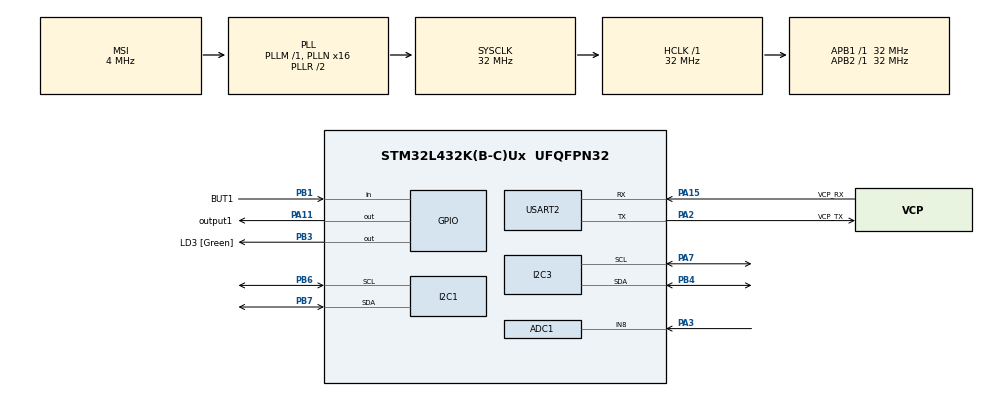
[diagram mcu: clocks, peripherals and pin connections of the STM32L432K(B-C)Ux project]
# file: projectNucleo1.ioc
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ADC1.Channel-0\#ChannelRegularConversion=ADC_CHANNEL_8
ADC1.NbrOfConversionFlag=1
ADC1.OffsetNumber-0\#ChannelRegularConversion=ADC_OFFSET_NONE
ADC1.Rank-0\#ChannelRegularConversion=1
ADC1.SamplingTime-0\#ChannelRegularConversion=ADC_SAMPLETIME_2CYCLES_5
ADC1.master=1
I2C1.OwnAddress=0x10
I2C1.Timing=0x00707CBB
I2C3.Timing=0x00707CBB
Mcu.Family=STM32L4
Mcu.Name=STM32L432K(B-C)Ux
Mcu.Package=UFQFPN32
NVIC.I2C1_ER_IRQn=true\:0\:0\:false\:false\:true\:true\:true\:true
NVIC.I2C1_EV_IRQn=true\:0\:0\:false\:false\:true\:true\:true\:true
NVIC.I2C3_ER_IRQn=true\:0\:0\:false\:false\:true\:true\:true\:true
NVIC.I2C3_EV_IRQn=true\:0\:0\:false\:false\:true\:true\:true\:true
NVIC.PriorityGroup=NVIC_PRIORITYGROUP_4
PA0.GPIO_Label=MCO [High speed clock in]
PA0.Mode=HSE-External-Clock-Source-for-LittleOrca
PA0.Signal=RCC_CK_IN
PA11.GPIO_Label=output1
PA11.GPIO_PuPd=GPIO_NOPULL
PA11.GPIO_Speed=GPIO_SPEED_FREQ_LOW
PA11.Signal=GPIO_Output
PA13\ (JTMS-SWDIO).GPIO_Label=SWDIO
PA13\ (JTMS-SWDIO).Mode=Serial_Wire
PA13\ (JTMS-SWDIO).Signal=SYS_JTMS-SWDIO
PA14\ (JTCK-SWCLK).GPIO_Label=SWCLK
PA14\ (JTCK-SWCLK).Mode=Serial_Wire
PA14\ (JTCK-SWCLK).Signal=SYS_JTCK-SWCLK
PA15\ (JTDI).GPIO_Label=VCP_RX
PA15\ (JTDI).Mode=Asynchronous
PA15\ (JTDI).Signal=USART2_RX
PA2.GPIO_Label=VCP_TX
PA2.Mode=Asynchronous
PA2.Signal=USART2_TX
PA3.Signal=ADCx_IN8
PA7.GPIO_Pu=GPIO_PULLUP
PA7.Mode=I2C
PA7.Signal=I2C3_SCL
PB1.GPIO_Label=BUT1
PB1.GPIO_PuPd=GPIO_PULLUP
PB1.Signal=GPIO_Input
PB3\ (JTDO-TRACESWO).GPIO_Label=LD3 [Green]
PB3\ (JTDO-TRACESWO).GPIO_PuPd=GPIO_NOPULL
PB3\ (JTDO-TRACESWO).GPIO_Speed=GPIO_SPEED_FREQ_LOW
PB3\ (JTDO-TRACESWO).Signal=GPIO_Output
PB4\ (NJTRST).GPIO_Pu=GPIO_PULLUP
PB4\ (NJTRST).Mode=I2C
PB4\ (NJTRST).Signal=I2C3_SDA
PB6.GPIO_Pu=GPIO_PULLUP
PB6.Mode=I2C
PB6.Signal=I2C1_SCL
PB7.GPIO_Pu=GPIO_PULLUP
PB7.Mode=I2C
PB7.Signal=I2C1_SDA
PC14-OSC32_IN\ (PC14).Mode=LSE-External-Oscillator
PC14-OSC32_IN\ (PC14).Signal=RCC_OSC32_IN
PC15-OSC32_OUT\ (PC15).Mode=LSE-External-Oscillator
PC15-OSC32_OUT\ (PC15).Signal=RCC_OSC32_OUT
ProjectManager.HeapSize=0x200
ProjectManager.StackSize=0x400
ProjectManager.TargetToolchain=STM32CubeIDE
RCC.AHBFreq_Value=32000000
RCC.APB1Freq_Value=32000000
RCC.APB1TimFreq_Value=32000000
RCC.APB2Freq_Value=32000000
RCC.APB2TimFreq_Value=32000000
RCC.CortexFreq_Value=32000000
RCC.HCLKFreq_Value=32000000
RCC.HSE_VALUE=8000000
RCC.HSI16_VALUE=16000000
RCC.HSI48_VALUE=48000000
RCC.HSI_VALUE=16000000
RCC.MSI_VALUE=4000000
RCC.PLLMUL=RCC_PLLMUL_4
RCC.PLLN=16
RCC.SYSCLKFreq_VALUE=32000000
RCC.SYSCLKSource=RCC_SYSCLKSOURCE_PLLCLK
RCC.VCOOutputFreq_Value=64000000
SH.ADCx_IN8.0=ADC1_IN8,IN8-Single-Ended
USART2.VirtualMode-Asynchronous=VM_ASYNC
board=NUCLEO-L432KC

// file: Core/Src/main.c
/* USER CODE BEGIN Header */
/**
  ******************************************************************************
  * @file           : main.c
  * @brief          : Main program body
  ******************************************************************************
  * @attention
  *
  * Copyright (c) 2024 STMicroelectronics.
  * All rights reserved.
  *
  * This software is licensed under terms that can be found in the LICENSE file
  * in the root directory of this software component.
  * If no LICENSE file comes with this software, it is provided AS-IS.
  *
  ******************************************************************************
  */
/* USER CODE END Header */
#include "main.h"

/* USER CODE BEGIN Includes */
#include <string.h>
#include <stdio.h>
#include <stdlib.h>
#include "sht3x.h"
/* USER CODE END Includes */

/* USER CODE BEGIN PD */
#define BUF_SIZE 2;
#define BYTE_TO_BINARY_PATTERN "%c%c%c%c%c%c%c%c"
#define BYTE_TO_BINARY(byte) \
	((byte) & 0x80 ? '1' : '0'), \
	((byte) & 0x40 ? '1' : '0'), \
	((byte) & 0x20 ? '1' : '0'), \
	((byte) & 0x10 ? '1' : '0'), \
	((byte) & 0x08 ? '1' : '0'), \
	((byte) & 0x04 ? '1' : '0'), \
	((byte) & 0x02 ? '1' : '0'), \
	((byte) & 0x01 ? '1' : '0')
/* USER CODE END PD */

ADC_HandleTypeDef hadc1;

I2C_HandleTypeDef hi2c1;
I2C_HandleTypeDef hi2c3;

UART_HandleTypeDef huart2;

/* USER CODE BEGIN PV */
//static const uint8_t SGP30_ADDR = 0x44 << 1;
//static const uint8_t REG_GAS = 0x00;
uint8_t received_command = 0;
char temperatureBuf[50];
char humidityBuf[50];
char moistureBuf[50];
char co2Buf[50];
float temp = 73;
float humidity = 24;
float moisture = 25;
uint16_t CO2 = 26;
uint16_t TVOC = 27;

/* USER CODE END PV */

void SystemClock_Config(void);
static void MX_GPIO_Init(void);
static void MX_USART2_UART_Init(void);
static void MX_I2C1_Init(void);
static void MX_I2C3_Init(void);
static void MX_ADC1_Init(void);

int main(void)
{
  /* USER CODE BEGIN 1 */
//	HAL_StatusTypeDef ret;

//	int16_t val;
//	float temp_c;

	sht3x_handle_t handle = {
	    .i2c_handle = &hi2c3,
	    .device_address = SHT3X_I2C_DEVICE_ADDRESS_ADDR_PIN_LOW
	};

	if (!sht3x_init(&handle)) {
	    printf("SHT3x access failed.\n\r");
	}

  /* USER CODE END 1 */

  /* MCU Configuration--------------------------------------------------------*/

  /* Reset of all peripherals, Initializes the Flash interface and the Systick. */
  HAL_Init();

  /* Configure the system clock */
  SystemClock_Config();

  /* Initialize all configured peripherals */
  MX_GPIO_Init();
  MX_USART2_UART_Init();
  MX_I2C1_Init();
  MX_I2C3_Init();
  MX_ADC1_Init();

  /* Infinite loop */
  /* USER CODE BEGIN WHILE */

  HAL_UART_Transmit(&huart2, " - Nucleo 1 online - \n\r", 23, HAL_MAX_DELAY);
  HAL_I2C_Slave_Receive_IT(&hi2c1, &received_command, 1);

  //initialisatie van de co2 sensor
  HAL_I2C_Master_Transmit(&hi2c3, 0x58 << 1, (uint8_t[]) {0x20, 0x03}, 2, HAL_MAX_DELAY);
  HAL_Delay(10);

  while (1)
  {
	  HAL_I2C_Slave_Receive_IT(&hi2c1, &received_command, 1);
	  /*
	   * Readout temperature and humidity using library functions and store them in corresponding buffers
	   */

	  sht3x_read_temperature_and_humidity(&handle, &temp, &humidity);
	  sprintf(temperatureBuf, "%.1lf", temp);
	  sprintf(humidityBuf, "%.1lf", humidity);
	  HAL_Delay(10);

	  HAL_ADC_Start(&hadc1);
	  if(HAL_ADC_PollForConversion(&hadc1, HAL_MAX_DELAY) == HAL_OK){
		  HAL_ADC_Stop(&hadc1);
		  moisture = HAL_ADC_GetValue(&hadc1);
	  }
	  sprintf(moistureBuf, "%d", (unsigned int)moisture);
	  //HAL_UART_Transmit(&huart2, moistureBuf, sizeof(moistureBuf), HAL_MAX_DELAY);
	  //HAL_UART_Transmit(&huart2, "\r\n", 2, HAL_MAX_DELAY);

		//char buf[50];       // Read data from SGP30 sensor
		uint8_t data[6]; // Data buffer to store sensor readings
		// Request measurement
		uint8_t command[] = {0x20, 0x08}; // Command for reading measurement data
		HAL_I2C_Master_Transmit(&hi2c3, 0x58 << 1, command, sizeof(command), HAL_MAX_DELAY);
		// Wait for measurement to complete
		HAL_Delay(12);
		// Read measurement data
		HAL_I2C_Master_Receive(&hi2c3, (0x58 << 1) | 0x01, data, sizeof(data), HAL_MAX_DELAY);
		// Process data to get CO2 and TVOC
		CO2 = (data[0] << 8) | data[1];
		TVOC = (data[3] << 8) | data[4];        // Print data to Serial port (UART)
		//sprintf(buf, "CO2: %d TVOC: %d \r\n", CO2, TVOC);
		//HAL_UART_Transmit(&huart2, (uint8_t*)buf, strlen(buf), HAL_MAX_DELAY);
		if(CO2 < 1000){
			sprintf(co2Buf, "0%d", CO2);
		}
		else {
			sprintf(co2Buf, "%d", CO2);
		}
		//sprintf(co2BufFormatted, "%0d", co2Buf)

    /* USER CODE END WHILE */

  }
}

void SystemClock_Config(void)
{
  RCC_OscInitTypeDef RCC_OscInitStruct = {0};
  RCC_ClkInitTypeDef RCC_ClkInitStruct = {0};

  /** Configure the main internal regulator output voltage
  */
  if (HAL_PWREx_ControlVoltageScaling(PWR_REGULATOR_VOLTAGE_SCALE1) != HAL_OK)
  {
    Error_Handler();
  }

  /** Configure LSE Drive Capability
  */
  HAL_PWR_EnableBkUpAccess();
  __HAL_RCC_LSEDRIVE_CONFIG(RCC_LSEDRIVE_LOW);

  /** Initializes the RCC Oscillators according to the specified parameters
  * in the RCC_OscInitTypeDef structure.
  */
  RCC_OscInitStruct.OscillatorType = RCC_OSCILLATORTYPE_LSE|RCC_OSCILLATORTYPE_MSI;
  RCC_OscInitStruct.LSEState = RCC_LSE_ON;
  RCC_OscInitStruct.MSIState = RCC_MSI_ON;
  RCC_OscInitStruct.MSICalibrationValue = 0;
  RCC_OscInitStruct.MSIClockRange = RCC_MSIRANGE_6;
  RCC_OscInitStruct.PLL.PLLState = RCC_PLL_ON;
  RCC_OscInitStruct.PLL.PLLSource = RCC_PLLSOURCE_MSI;
  RCC_OscInitStruct.PLL.PLLM = 1;
  RCC_OscInitStruct.PLL.PLLN = 16;
  RCC_OscInitStruct.PLL.PLLP = RCC_PLLP_DIV7;
  RCC_OscInitStruct.PLL.PLLQ = RCC_PLLQ_DIV2;
  RCC_OscInitStruct.PLL.PLLR = RCC_PLLR_DIV2;
  if (HAL_RCC_OscConfig(&RCC_OscInitStruct) != HAL_OK)
  {
    Error_Handler();
  }

  /** Initializes the CPU, AHB and APB buses clocks
  */
  RCC_ClkInitStruct.ClockType = RCC_CLOCKTYPE_HCLK|RCC_CLOCKTYPE_SYSCLK
                              |RCC_CLOCKTYPE_PCLK1|RCC_CLOCKTYPE_PCLK2;
  RCC_ClkInitStruct.SYSCLKSource = RCC_SYSCLKSOURCE_PLLCLK;
  RCC_ClkInitStruct.AHBCLKDivider = RCC_SYSCLK_DIV1;
  RCC_ClkInitStruct.APB1CLKDivider = RCC_HCLK_DIV1;
  RCC_ClkInitStruct.APB2CLKDivider = RCC_HCLK_DIV1;

  if (HAL_RCC_ClockConfig(&RCC_ClkInitStruct, FLASH_LATENCY_1) != HAL_OK)
  {
    Error_Handler();
  }

  /** Enable MSI Auto calibration
  */
  HAL_RCCEx_EnableMSIPLLMode();
}

static void MX_ADC1_Init(void)
{

  ADC_ChannelConfTypeDef sConfig = {0};

  /** Common config
  */
  hadc1.Instance = ADC1;
  hadc1.Init.ClockPrescaler = ADC_CLOCK_ASYNC_DIV1;
  hadc1.Init.Resolution = ADC_RESOLUTION_12B;
  hadc1.Init.DataAlign = ADC_DATAALIGN_RIGHT;
  hadc1.Init.ScanConvMode = ADC_SCAN_DISABLE;
  hadc1.Init.EOCSelection = ADC_EOC_SINGLE_CONV;
  hadc1.Init.LowPowerAutoWait = DISABLE;
  hadc1.Init.ContinuousConvMode = DISABLE;
  hadc1.Init.NbrOfConversion = 1;
  hadc1.Init.DiscontinuousConvMode = DISABLE;
  hadc1.Init.ExternalTrigConv = ADC_SOFTWARE_START;
  hadc1.Init.ExternalTrigConvEdge = ADC_EXTERNALTRIGCONVEDGE_NONE;
  hadc1.Init.DMAContinuousRequests = DISABLE;
  hadc1.Init.Overrun = ADC_OVR_DATA_PRESERVED;
  hadc1.Init.OversamplingMode = DISABLE;
  if (HAL_ADC_Init(&hadc1) != HAL_OK)
  {
    Error_Handler();
  }

  /** Configure Regular Channel
  */
  sConfig.Channel = ADC_CHANNEL_8;
  sConfig.Rank = ADC_REGULAR_RANK_1;
  sConfig.SamplingTime = ADC_SAMPLETIME_2CYCLES_5;
  sConfig.SingleDiff = ADC_SINGLE_ENDED;
  sConfig.OffsetNumber = ADC_OFFSET_NONE;
  sConfig.Offset = 0;
  if (HAL_ADC_ConfigChannel(&hadc1, &sConfig) != HAL_OK)
  {
    Error_Handler();
  }

}

static void MX_I2C1_Init(void)
{

  hi2c1.Instance = I2C1;
  hi2c1.Init.Timing = 0x00707CBB;
  hi2c1.Init.OwnAddress1 = 32;
  hi2c1.Init.AddressingMode = I2C_ADDRESSINGMODE_7BIT;
  hi2c1.Init.DualAddressMode = I2C_DUALADDRESS_DISABLE;
  hi2c1.Init.OwnAddress2 = 0;
  hi2c1.Init.OwnAddress2Masks = I2C_OA2_NOMASK;
  hi2c1.Init.GeneralCallMode = I2C_GENERALCALL_DISABLE;
  hi2c1.Init.NoStretchMode = I2C_NOSTRETCH_DISABLE;
  if (HAL_I2C_Init(&hi2c1) != HAL_OK)
  {
    Error_Handler();
  }

  /** Configure Analogue filter
  */
  if (HAL_I2CEx_ConfigAnalogFilter(&hi2c1, I2C_ANALOGFILTER_ENABLE) != HAL_OK)
  {
    Error_Handler();
  }

  /** Configure Digital filter
  */
  if (HAL_I2CEx_ConfigDigitalFilter(&hi2c1, 0) != HAL_OK)
  {
    Error_Handler();
  }

}

static void MX_I2C3_Init(void)
{

  hi2c3.Instance = I2C3;
  hi2c3.Init.Timing = 0x00707CBB;
  hi2c3.Init.OwnAddress1 = 0;
  hi2c3.Init.AddressingMode = I2C_ADDRESSINGMODE_7BIT;
  hi2c3.Init.DualAddressMode = I2C_DUALADDRESS_DISABLE;
  hi2c3.Init.OwnAddress2 = 0;
  hi2c3.Init.OwnAddress2Masks = I2C_OA2_NOMASK;
  hi2c3.Init.GeneralCallMode = I2C_GENERALCALL_DISABLE;
  hi2c3.Init.NoStretchMode = I2C_NOSTRETCH_DISABLE;
  if (HAL_I2C_Init(&hi2c3) != HAL_OK)
  {
    Error_Handler();
  }

  /** Configure Analogue filter
  */
  if (HAL_I2CEx_ConfigAnalogFilter(&hi2c3, I2C_ANALOGFILTER_ENABLE) != HAL_OK)
  {
    Error_Handler();
  }

  /** Configure Digital filter
  */
  if (HAL_I2CEx_ConfigDigitalFilter(&hi2c3, 0) != HAL_OK)
  {
    Error_Handler();
  }

}

static void MX_USART2_UART_Init(void)
{

  huart2.Instance = USART2;
  huart2.Init.BaudRate = 115200;
  huart2.Init.WordLength = UART_WORDLENGTH_8B;
  huart2.Init.StopBits = UART_STOPBITS_1;
  huart2.Init.Parity = UART_PARITY_NONE;
  huart2.Init.Mode = UART_MODE_TX_RX;
  huart2.Init.HwFlowCtl = UART_HWCONTROL_NONE;
  huart2.Init.OverSampling = UART_OVERSAMPLING_16;
  huart2.Init.OneBitSampling = UART_ONE_BIT_SAMPLE_DISABLE;
  huart2.AdvancedInit.AdvFeatureInit = UART_ADVFEATURE_NO_INIT;
  if (HAL_UART_Init(&huart2) != HAL_OK)
  {
    Error_Handler();
  }

}

static void MX_GPIO_Init(void)
{
  GPIO_InitTypeDef GPIO_InitStruct = {0};

  /* GPIO Ports Clock Enable */
  __HAL_RCC_GPIOC_CLK_ENABLE();
  __HAL_RCC_GPIOA_CLK_ENABLE();
  __HAL_RCC_GPIOB_CLK_ENABLE();

  /*Configure GPIO pin Output Level */
  HAL_GPIO_WritePin(output1_GPIO_Port, output1_Pin, GPIO_PIN_RESET);

  /*Configure GPIO pin Output Level */
  HAL_GPIO_WritePin(LD3_GPIO_Port, LD3_Pin, GPIO_PIN_RESET);

  /*Configure GPIO pin : BUT1_Pin */
  GPIO_InitStruct.Pin = BUT1_Pin;
  GPIO_InitStruct.Mode = GPIO_MODE_INPUT;
  GPIO_InitStruct.Pull = GPIO_PULLUP;
  HAL_GPIO_Init(BUT1_GPIO_Port, &GPIO_InitStruct);

  /*Configure GPIO pin : output1_Pin */
  GPIO_InitStruct.Pin = output1_Pin;
  GPIO_InitStruct.Mode = GPIO_MODE_OUTPUT_PP;
  GPIO_InitStruct.Pull = GPIO_NOPULL;
  GPIO_InitStruct.Speed = GPIO_SPEED_FREQ_LOW;
  HAL_GPIO_Init(output1_GPIO_Port, &GPIO_InitStruct);

  /*Configure GPIO pin : LD3_Pin */
  GPIO_InitStruct.Pin = LD3_Pin;
  GPIO_InitStruct.Mode = GPIO_MODE_OUTPUT_PP;
  GPIO_InitStruct.Pull = GPIO_NOPULL;
  GPIO_InitStruct.Speed = GPIO_SPEED_FREQ_LOW;
  HAL_GPIO_Init(LD3_GPIO_Port, &GPIO_InitStruct);

}

/* USER CODE BEGIN 4 */
/*
 * Receive a command flag from the server Pi, and react accordingly
 * 0x01 - Request temperature data
 * 0x02 - Turn single LED ON
 * 0x03 - Turn single LED OFF
 * 0x04 - Request button data (Not in use)
 */
void HAL_I2C_SlaveRxCpltCallback(I2C_HandleTypeDef *hi2c) {
	//yete
	if (received_command == 0x01) {
		HAL_UART_Transmit(&huart2, (uint8_t*) "Received TEMP flag, returning temp: ", 36, HAL_MAX_DELAY);
		HAL_UART_Transmit(&huart2, temperatureBuf, strlen(temperatureBuf), HAL_MAX_DELAY);
		HAL_UART_Transmit(&huart2, (uint8_t*) "\n\r", 2, HAL_MAX_DELAY);
	    if (HAL_I2C_Slave_Transmit_IT(&hi2c1, temperatureBuf, strlen(temperatureBuf)) != HAL_OK) {
	    	HAL_UART_Transmit(&huart2, (uint8_t*) "Didn't work!\n\r", 40, HAL_MAX_DELAY);
	    }
	    HAL_I2C_Slave_Receive_IT(&hi2c1, &received_command, 1);
	} else if (received_command == 0x02) {
		HAL_UART_Transmit(&huart2, (uint8_t*) "Received LEDON flag, turning LED ON\n\r", 37, HAL_MAX_DELAY);
		//HAL_GPIO_WritePin(LEDOUT_GPIO_Port, LEDOUT_Pin, GPIO_PIN_SET);
		HAL_I2C_Slave_Receive_IT(&hi2c1, &received_command, 1);
	} else if (received_command == 0x03) {
		HAL_UART_Transmit(&huart2, (uint8_t*) "Received LEDOFF flag, turning LED OFF\n\r", 39, HAL_MAX_DELAY);
		//HAL_GPIO_WritePin(LEDOUT_GPIO_Port, LEDOUT_Pin, GPIO_PIN_RESET);
		HAL_I2C_Slave_Receive_IT(&hi2c1, &received_command, 1);
	} else if (received_command == 0x04) {
		/*HAL_UART_Transmit(&huart2, (uint8_t*) "Received BUTTON flag, returning button state: ", 46, HAL_MAX_DELAY);
		uint8_t value = !HAL_GPIO_ReadPin(BUT1_GPIO_Port, BUT1_Pin);
		uint8_t buf2[4];
		snprintf((char*)buf2, sizeof (buf2), "%d\n\r", value);
		HAL_UART_Transmit(&huart2, (uint8_t*)buf2, strlen((char*)buf2), HAL_MAX_DELAY);
		if (HAL_I2C_Slave_Transmit_IT(&hi2c1, (uint8_t*) buf2, strlen((char*)buf2)) != HAL_OK) {
			HAL_UART_Transmit(&huart2, (uint8_t*) "Didn't work!\n\r", 40, HAL_MAX_DELAY);
		}
		HAL_I2C_Slave_Receive_IT(&hi2c1, &received_command, 1);*/
	} else if (received_command == 0x05) {
		HAL_UART_Transmit(&huart2, (uint8_t*) "Received HUMD flag, returning humidity: ", 40, HAL_MAX_DELAY);
		HAL_UART_Transmit(&huart2, humidityBuf, strlen(humidityBuf), HAL_MAX_DELAY);
		HAL_UART_Transmit(&huart2, (uint8_t*) "\n\r", 2, HAL_MAX_DELAY);
		if (HAL_I2C_Slave_Transmit_IT(&hi2c1, humidityBuf, strlen(humidityBuf)) != HAL_OK) {
		   	HAL_UART_Transmit(&huart2, (uint8_t*) "Didn't work!\n\r", 40, HAL_MAX_DELAY);
		}
		HAL_I2C_Slave_Receive_IT(&hi2c1, &received_command, 1);
	} else if (received_command == 0x06){
		HAL_UART_Transmit(&huart2, (uint8_t*) "Received CO2 flag, returning CO2: ", 34, HAL_MAX_DELAY);
		HAL_UART_Transmit(&huart2, co2Buf, strlen(co2Buf), HAL_MAX_DELAY);
		HAL_UART_Transmit(&huart2, (uint8_t*) "\n\r", 2, HAL_MAX_DELAY);
		if (HAL_I2C_Slave_Transmit_IT(&hi2c1, co2Buf, strlen(co2Buf)) != HAL_OK) {
			HAL_UART_Transmit(&huart2, (uint8_t*) "Didn't work!\n\r", 40, HAL_MAX_DELAY);
		}
		HAL_I2C_Slave_Receive_IT(&hi2c1, &received_command, 1);
	} else if (received_command == 0x07) {
		HAL_UART_Transmit(&huart2, (uint8_t*) "Received MOIST flag, returning moisture: ", 41, HAL_MAX_DELAY);
		HAL_UART_Transmit(&huart2, moistureBuf, strlen(moistureBuf), HAL_MAX_DELAY);
		HAL_UART_Transmit(&huart2, (uint8_t*) "\n\r", 2, HAL_MAX_DELAY);
		if (HAL_I2C_Slave_Transmit_IT(&hi2c1, moistureBuf, strlen(moistureBuf)) != HAL_OK) {
		   	HAL_UART_Transmit(&huart2, (uint8_t*) "Didn't work!\n\r", 40, HAL_MAX_DELAY);
		}
		//sprintf(tempbuf, BYTE_TO_BINARY_PATTERN, BYTE_TO_BINARY(moistureBuf[0]));
		//HAL_UART_Transmit(&huart2, moisture, sizeof(tempbuf), HAL_MAX_DELAY);
		//sprintf(tempbuf2, BYTE_TO_BINARY_PATTERN, BYTE_TO_BINARY(moistureBuf[1]));
		//HAL_UART_Transmit(&huart2, moistureBuf, strlen(moistureBuf), HAL_MAX_DELAY);
		//HAL_UART_Transmit(&huart2, "\r\n", 2, HAL_MAX_DELAY);
		HAL_I2C_Slave_Receive_IT(&hi2c1, &received_command, 1);
	} else {
		HAL_UART_Transmit(&huart2, (uint8_t*) "Huh?\n", 5, HAL_MAX_DELAY);
	}
}
/* USER CODE END 4 */

void Error_Handler(void)
{
  __disable_irq();
  while (1)
  {
  }
}
